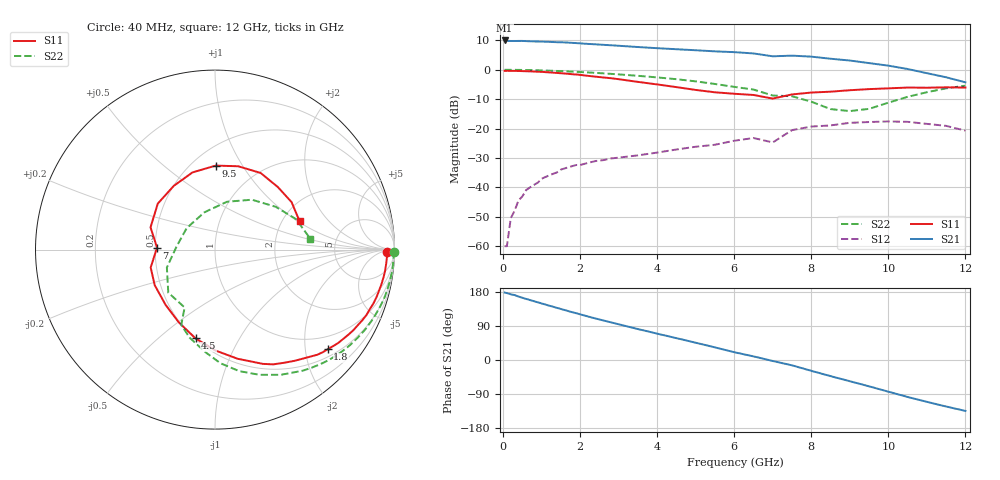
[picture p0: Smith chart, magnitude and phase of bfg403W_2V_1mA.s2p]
! Filename: 21bfg403.001
! BFG403W Field A1
! V1=8.453E-001V,V2=2.000E+000V, I1=1.311E-005A, I2=1.000E-003A
# GHz  S  MA  R 50
!  S11  S21  S12  S22
!Freq(GHz)  Mag  Ang  Mag  Ang  Mag  Ang  Mag  Ang
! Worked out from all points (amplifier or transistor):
!   44 points, 40 MHz to 12 GHz, reference 50 ohm
!   highest |S21| = 9.9 dB at 40 MHz (marker M1)
!   |S21| within 3 dB of that: start of sweep to 4.527 GHz
!   unconditionally stable (mu >= 1): 2.814 GHz to end of sweep
!   at 700 MHz: K = 0.17, MSG = 24.8 dB, |S12| = -40.0 dB
!   at 2.4 GHz: K = 0.78, MSG = 19.8 dB, |S12| = -31.1 dB
!   at 12 GHz: K = 4.80, MAG = -1.6 dB, |S12| = -20.7 dB
!   S11 on the Smith chart (normalised r, x): 40 MHz: 41, -12; 1.8 GHz: 0.67, -2.48; 4.5 GHz: 0.51, -0.67; 7 GHz: 0.51, +0.01; 9.5 GHz: 0.64, +0.77; 12 GHz: 2.47, +1.04
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0.04  0.956 -0.8  3.143 177.8  0.001 72.2  0.996 -0.6
0.1  0.959 -2.4  3.084 176.6  0.001 90.2  0.997 -1.9
0.2  0.957 -4.7  3.08 173.4  0.003 85.8  0.995 -3.8
0.4  0.952 -9.1  3.085 167.5  0.006 82.9  0.993 -7.7
0.6  0.942 -14.1  3.062 161.1  0.009 77.7  0.988 -11.5
1.2  0.9 -27.9  2.974 143.3  0.016 66.9  0.963 -22.8
1.8  0.838 -41.5  2.858 126.0  0.023 57.4  0.927 -33.6
2.2  0.787 -50.0  2.747 114.9  0.026 52.2  0.899 -40.6
3  0.69 -67.3  2.554 94.3  0.032 44.2  0.833 -54.1
4  0.562 -89.8  2.322 69.5  0.039 38.0  0.74 -70.5
4.5  0.506 -102.4  2.23 57.7  0.044 35.4  0.69 -78.8
5.5  0.413 -131.8  2.052 33.2  0.053 27.5  0.572 -95.6
6  0.39 -149.5  1.989 20.6  0.062 20.9  0.511 -106.0
6.5  0.372 -164.4  1.891 9.5  0.069 22.3  0.46 -114.1
7  0.323 178.0  1.69 -2.6  0.058 22.8  0.364 -117.7
7.5  0.38 160.9  1.735 -14.1  0.094 13.4  0.354 -137.3
8  0.409 141.2  1.668 -28.6  0.108 -1.1  0.286 -159.6
8.5  0.423 122.9  1.537 -42.5  0.113 -13.2  0.214 174.9
9.5  0.468 89.5  1.295 -69.5  0.129 -38.6  0.216 105.8
10.5  0.497 59.2  1.028 -97.5  0.13 -67.0  0.346 53.5
11.5  0.502 31.8  0.744 -122.8  0.111 -96.2  0.482 20.7
12  0.497 18.6  0.61 -134.3  0.092 -113.9  0.535 6.4
